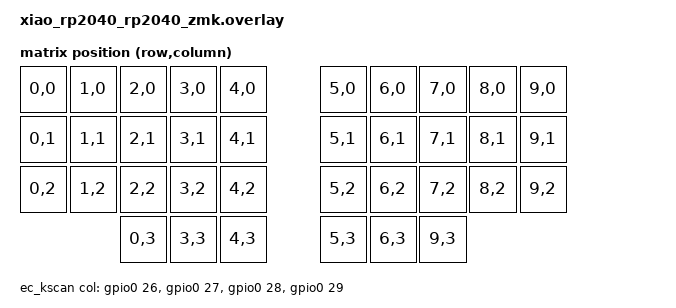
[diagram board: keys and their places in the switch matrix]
/*
 * Copyright (c) 2026 carrefinho
 * SPDX-License-Identifier: MIT
 *
 * Caroline with a Seeed XIAO RP2040 Plus.
 * 36 EC keys, 4 sense rows x 10 strobed columns, no analog front end. The
 * board's rows are this driver's columns (sense lines, on the ADC) and its
 * columns are this driver's strobes; the transform below swaps them back.
 *
 * JP1-JP4 must be bridged A-C: RP2040 has only four ADC inputs, so each
 * row's left half is tied to its right half on D0-D3 and a line carries ten
 * keys. The ROWn_L_AIN pads (D10-D7) are then open stubs and stay untouched.
 *
 *   ROW0 -> D0  GPIO26 AINSEL 0     COL0 -> D27 GPIO8    COL5 -> D22 GPIO15
 *   ROW1 -> D1  GPIO27 AINSEL 1     COL1 -> D26 GPIO9    COL6 -> D4  GPIO6
 *   ROW2 -> D2  GPIO28 AINSEL 2     COL2 -> D25 GPIO10   COL7 -> D23 GPIO16
 *   ROW3 -> D3  GPIO29 AINSEL 3     COL3 -> D20 GPIO13   COL8 -> D5  GPIO7
 *                                   COL4 -> D19 GPIO5    COL9 -> D6  GPIO0
 *
 * Pad positions from the PCB footprint (Xiao_nRF52840_Plus: pads 15-20 are
 * the D19-D24 interstitials on the D0-D6 edge, 21-23 are D25-D27 on the other
 * edge), GPIOs from the XIAO RP2040 Plus schematic V1.0 p.5.
 *
 * THIS BUILDS ON THE PLAIN xiao_rp2040 BOARD, which does not describe the
 * Plus. The fixes below are the gap between the two:
 *
 *  - D3 reaches GPIO29 through an SGM48756 analog switch (U5). IN = GPIO24
 *    (BAT_EN); low connects the D3 pad (NC), high connects the battery
 *    divider (NO). The hog holds it low. The switch also sits in series with
 *    ROW3, so that line carries its on-capacitance and leakage and may read
 *    differently from ROW0-2.
 *  - The plain board has a three-colour LED on GPIO16/17/25. The Plus has
 *    only a green user LED on GPIO25 (through a FET, active high) and brings
 *    GPIO16/17 out as D23/D24. GPIO16 is COL7 here, so the gpio-leds node
 *    goes, or anything that drives led1 fights the strobe.
 *  - i2c1 (GPIO6/7 = COL6/COL8), spi0 (GPIO2-4) and uart0 (GPIO0/1 = COL9)
 *    are the plain board's defaults on pads this board strobes or leaves
 *    open. The Zephyr ADC driver goes too: this driver owns the converter.
 */

#include <dt-bindings/zmk/matrix_transform.h>

&adc { status = "disabled"; };
&i2c1 { status = "disabled"; };
&spi0 { status = "disabled"; };
&uart0 { status = "disabled"; };

&gpio0 {
	bat-en-select-d3 {
		gpio-hog;
		gpios = <24 GPIO_ACTIVE_HIGH>;
		output-low;
	};
};

/* uart0 was the console. This puts it, and the `ecd` shell when enabled, on
 * CDC ACM over the USB device ZMK already runs. */
&zephyr_udc0 {
	cdc_acm_uart0: cdc_acm_uart0 {
		compatible = "zephyr,cdc-acm-uart";
	};
};

/ {
	leds {
		status = "disabled";
	};

	chosen {
		zephyr,console = &cdc_acm_uart0;
		zephyr,shell-uart = &cdc_acm_uart0;
		zmk,physical-layout = &ec_layout;
	};

	ec_kscan: ec_kscan {
		compatible = "zmk,kscan-direct-ec";

		/* Same four pins, twice: once as AINSEL, once as GPIOs. Order
		 * must match; the backend checks the correspondence. */
		ain-channels = <0 1 2 3>;               /* ROW0..ROW3 */
		col-gpios
			= <&gpio0 26 GPIO_ACTIVE_HIGH>      /* ROW0, D0 */
			, <&gpio0 27 GPIO_ACTIVE_HIGH>      /* ROW1, D1 */
			, <&gpio0 28 GPIO_ACTIVE_HIGH>      /* ROW2, D2 */
			, <&gpio0 29 GPIO_ACTIVE_HIGH>      /* ROW3, D3 via U5, BAT_EN low */
			;

		strobe-gpios
			= <&gpio0 8 GPIO_ACTIVE_HIGH>       /* COL0, D27 */
			, <&gpio0 9 GPIO_ACTIVE_HIGH>       /* COL1, D26 */
			, <&gpio0 10 GPIO_ACTIVE_HIGH>      /* COL2, D25 */
			, <&gpio0 13 GPIO_ACTIVE_HIGH>      /* COL3, D20 */
			, <&gpio0 5 GPIO_ACTIVE_HIGH>       /* COL4, D19 */
			, <&gpio0 15 GPIO_ACTIVE_HIGH>      /* COL5, D22 */
			, <&gpio0 6 GPIO_ACTIVE_HIGH>       /* COL6, D4 */
			, <&gpio0 16 GPIO_ACTIVE_HIGH>      /* COL7, D23 */
			, <&gpio0 7 GPIO_ACTIVE_HIGH>       /* COL8, D5 */
			, <&gpio0 0 GPIO_ACTIVE_HIGH>       /* COL9, D6 */
			;

		/*
		 * Cut from the assembled board. Raw, a key pressed
		 * alone reads 165-327 over released (median 262; the thumb row,
		 * behind the analog switch on D3, is the low line at 190-234), and
		 * ten held on one line leaves 60 % of that.
		 *
		 * load-comp-scale corrects it. 4000 was fitted on a ten-key roll
		 * of the top row (the minimum is broad, 3800-4400) and checked on
		 * the board: each key stays within a few percent from one held to
		 * ten, unpressed keys within +-10, and the six-key thumb row is as
		 * flat with the same K. Compensated, the weakest keys read ~190.
		 */
		press-threshold = <100>;
		release-threshold = <65>;
		load-comp-scale = <4000>;

		/*
		 * Pull-down prime, two primes, no
		 * dwell (the fixed 2 us conversion is the only window). settle-us 0
		 * was checked on the bare board against 200: resting levels moved
		 * -1.4 on average (sd 2.9, one grid each) and idle sd did not.
		 */
		bias-us = <0>;
		prime-conversions = <2>;
		settle-us = <0>;

		/* 250 Hz: 36 cells x NAVG 4 x 12.5 us is a 1.8 ms pass, measured. */
		poll-interval-ms = <4>;
	};

	ec_transform: ec_transform {
		compatible = "zmk,matrix-transform";
		columns = <4>;
		rows = <10>;
		/* RC(strobe, sense) = RC(board column, board row) */
		map = <
			RC(0,0) RC(1,0) RC(2,0) RC(3,0) RC(4,0) RC(5,0) RC(6,0) RC(7,0) RC(8,0) RC(9,0)
			RC(0,1) RC(1,1) RC(2,1) RC(3,1) RC(4,1) RC(5,1) RC(6,1) RC(7,1) RC(8,1) RC(9,1)
			RC(0,2) RC(1,2) RC(2,2) RC(3,2) RC(4,2) RC(5,2) RC(6,2) RC(7,2) RC(8,2) RC(9,2)
			RC(0,3)                 RC(3,3) RC(4,3) RC(5,3) RC(6,3)                 RC(9,3)
		>;
	};
};
